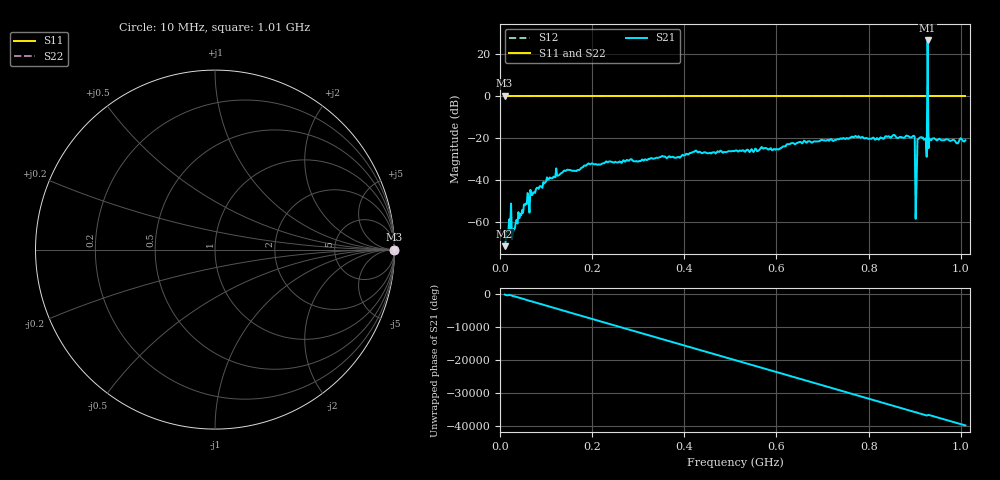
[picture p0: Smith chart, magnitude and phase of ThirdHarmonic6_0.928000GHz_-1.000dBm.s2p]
! 8/16/2025 6:16:33 AM
! C:\ANRITSUVNA\TEMP\TEMP.S2P
! CHANNEL.1
! TR.MEASUREMENT
! RAW.DATA
! RF.CORRECTION.OFF
! AVERAGING.OFF
! IF.BANDWIDTH: 5KHZ
! SWEEPTYPE:  FREQ.SWEEP(Linear)
! Reference Plane Port Info
! PORT:  PORT1  PORT2
! DISTANCE:  0  m  0  m
! TIME:  0  s  0  s
! PHASE.OFFSET:  0  deg.  0  deg.
! LOSS:  0  dB  0  dB
! REF.LOSS:  0  dB  0  dB
! REF.FREQ:  0  Hz  0  Hz
! Power Info
! POWER:  -20  dBm  -20  dBm
! EFF.POWER:  -20  dBm  -20  dBm
! SOURCE.ATTEN:  0  dB  0  dB
! TEST.ATTEN:  0  dB  0  dB
# GHZ S RI R 50.0
! FREQ.GHZ  S11RE  S11IM  S21RE  S21IM  S12RE  S12IM  S22RE  S22IM
!; PortSelection: Port_12
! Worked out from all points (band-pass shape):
!   501 points, 10 MHz to 1.01 GHz, reference 50 ohm
!   highest |S21| = 26.21 dB at 928 MHz (marker M1); lowest = -71.6 dB at 10 MHz (marker M2)
!   |S21| within 3 dB of the highest: 927.8916 MHz to 928.1171 MHz (225.5 kHz wide, 0.0243 % of centre)
!   lowest |S11| = 0.0 dB at 10 MHz (marker M3)
!   |S11| at or under -10 dB: nowhere
!   |S22| runs from 0.0 to 0.0 dB; largest |S21 - S12| = 20
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0.01  1 0  -0.000228 -0.00013  1 0  1 0
0.02  1 0  -0.000576 0.000984  1 0  1 0
0.03  1 0  0.000122 0.000666  1 0  1 0
0.056  1 0  -0.000674 0.00263  1 0  1 0
0.07  1 0  -0.00136 -0.00408  1 0  1 0
0.106  1 0  -0.00777 -0.00687  1 0  1 0
0.178  1 0  -0.0193 -0.00285  1 0  1 0
0.344  1 0  0.0316 -0.0101  1 0  1 0
0.51  1 0  -0.04 0.0274  1 0  1 0
0.678  1 0  -0.0531 -0.0553  1 0  1 0
0.844  1 0  0.1076 -0.00569  1 0  1 0
0.896  1 0  0.0608 0.0898  1 0  1 0
0.9  1 0  -0.04 -0.0975  1 0  1 0
0.906  1 0  0.0884 0.0122  1 0  1 0
0.908  1 0  0.0307 -0.0876  1 0  1 0
0.91  1 0  -0.0856 -0.0479  1 0  1 0
0.922  1 0  0.00613 0.0916  1 0  1 0
0.924  1 0  0.0943 0.013  1 0  1 0
0.928  1 0  18.36 -8.95  1 0  1 0
0.932  1 0  0.0795 0.0512  1 0  1 0
0.934  1 0  0.0617 -0.0656  1 0  1 0
1.01  1 0  -0.0683 0.0534  1 0  1 0
